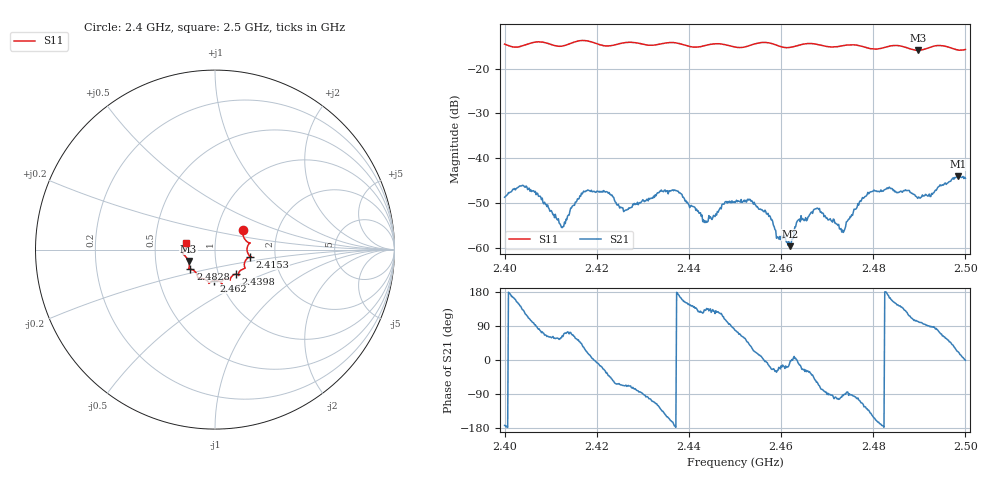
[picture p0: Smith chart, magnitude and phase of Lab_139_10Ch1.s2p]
# Hz S RI R 50
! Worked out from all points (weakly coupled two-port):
!   601 points, 2.4 GHz to 2.5 GHz, reference 50 ohm
!   highest |S21| = -44.02 dB at 2.4983 GHz (marker M1); lowest = -59.7 dB at 2.462 GHz (marker M2)
!   lowest |S11| = -15.9 dB at 2.4897 GHz (marker M3), VSWR 1.38, Z = 36.9 - j4.81 ohm
!   |S11| at or under -10 dB: start of sweep to end of sweep
!   S12 and S22 are empty: the file has one direction only
!   S11 on the Smith chart (normalised r, x): 2.4 GHz: 1.33, +0.29; 2.4153 GHz: 1.48, -0.12; 2.4398 GHz: 1.21, -0.34; 2.462 GHz: 0.93, -0.33; 2.4828 GHz: 0.74, -0.17; 2.5 GHz: 0.72, +0.06
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2.4e9  0.1552 0.1067  -0.00363 -0.000471  0 0  0 0
2.404333e9  0.1781 0.0443  -0.00275 0.0039  0 0  0 0
2.412333e9  0.1785 -0.00507  0.000878 0.00144  0 0  0 0
2.415333e9  0.1964 -0.0386  0.00173 0.00272  0 0  0 0
2.416667e9  0.2022 -0.0425  0.00293 0.00281  0 0  0 0
2.422167e9  0.167 -0.0661  0.00354 -0.00231  0 0  0 0
2.426333e9  0.1676 -0.1021  0.00106 -0.00241  0 0  0 0
2.433333e9  0.1309 -0.1337  -0.00208 -0.00354  0 0  0 0
2.439833e9  0.1154 -0.1363  -0.00258 0.00171  0 0  0 0
2.4435e9  0.0867 -0.1596  -0.00131 0.0015  0 0  0 0
2.45e9  0.0647 -0.1623  0.000634 0.00313  0 0  0 0
2.453667e9  0.0361 -0.1818  0.00284 0.00175  0 0  0 0
2.462e9  -0.00492 -0.173  0.00104 -4.33e-05  0 0  0 0
2.463833e9  -0.0258 -0.1815  0.00202 -0.000353  0 0  0 0
2.466667e9  -0.0343 -0.1879  0.00192 -0.00161  0 0  0 0
2.473333e9  -0.0829 -0.1604  -6.59e-05 -0.00157  0 0  0 0
2.477667e9  -0.0978 -0.148  -0.00152 -0.0033  0 0  0 0
2.482833e9  -0.1365 -0.1095  -0.00454 9.08e-05  0 0  0 0
2.483333e9  -0.1404 -0.1092  -0.00459 0.000846  0 0  0 0
2.489667e9  -0.1473 -0.0635  -0.000734 0.00348  0 0  0 0
2.498333e9  -0.1619 0.0102  0.00582 0.00239  0 0  0 0
2.5e9  -0.1594 0.039  0.00596 -6.27e-05  0 0  0 0
